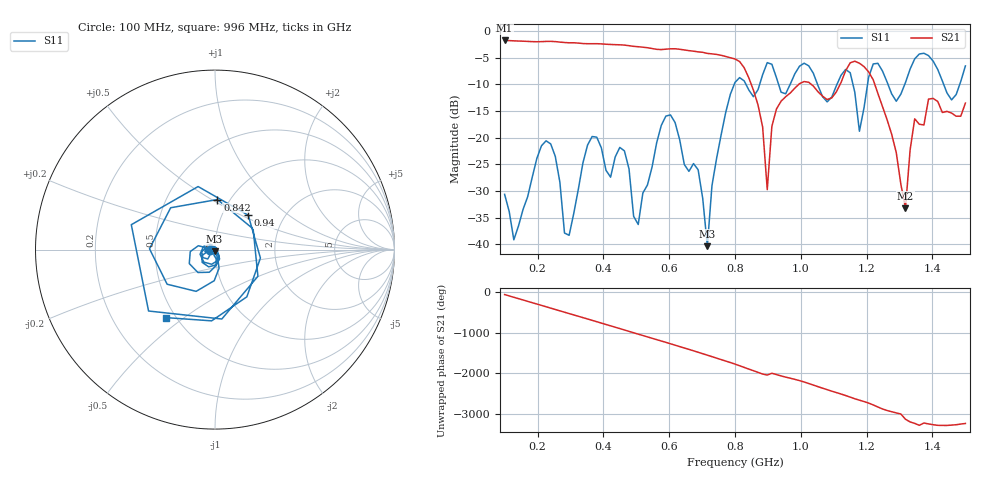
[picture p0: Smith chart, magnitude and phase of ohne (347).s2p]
! NanoVNA-App
! Date: 2025-09-25 14:23:30
! Start: 100MHz Stop: 1,5GHz Points: 101
! S-Parameter data: F S11 S21 S12 S22
# Hz S RI R 50
!  Frequency  S11_Real  S11_Imag  S21_Real  S21_Imag  S12_Real  S12_Imag  S22_Real  S22_Imag
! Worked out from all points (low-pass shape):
!   101 points, 100 MHz to 1.5 GHz, reference 50 ohm
!   highest |S21| = -1.79 dB at 100 MHz (marker M1); lowest = -33.2 dB at 1.318 GHz (marker M2)
!   |S21| within 3 dB of the highest: start of sweep to 771.7 MHz
!   lowest |S11| = -40.3 dB at 716 MHz (marker M3), VSWR 1.02, Z = 49.7 - j0.918 ohm
!   |S11| at or under -10 dB: start of sweep to 797.8 MHz; 833.1 MHz to 875 MHz (41.93 MHz wide, 4.91 % of centre); 1.051 GHz to 1.11 GHz (59.39 MHz wide, 5.5 % of centre) (the widest 3 of 7)
!   S12 and S22 are empty: the file has one direction only
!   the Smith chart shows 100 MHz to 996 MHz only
!   S11 on the Smith chart (normalised r, x): 100 MHz: 0.94, -0.01; 842 MHz: 0.88, +0.53; 940 MHz: 1.33, +0.55; 996 MHz: 0.44, -0.43
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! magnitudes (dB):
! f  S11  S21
! 100 MHz  -30.6  -1.8
! 128 MHz  -39.1  -1.9
! 226 MHz  -20.6  -2.0
! 296 MHz  -38.3  -2.2
! 338 MHz  -24.7  -2.4
! 464 MHz  -22.5  -2.7
! 506 MHz  -36.3  -3.0
! 576 MHz  -17.7  -3.5
! 688 MHz  -26.0  -3.9
! 716 MHz  -40.3  -4.2
! 800 MHz  -9.7  -5.3
! 842 MHz  -11.1  -8.8
! 898 MHz  -6.0  -29.8
! 940 MHz  -11.5  -13.2
! 996 MHz  -6.6  -9.9
! 1.038 GHz  -7.9  -10.3
! 1.178 GHz  -18.8  -6.1
! 1.22 GHz  -6.2  -9.2
! 1.276 GHz  -11.8  -19.4
! 1.318 GHz  -9.7  -33.2
! 1.346 GHz  -5.2  -16.5
! 1.5 GHz  -6.6  -13.5
